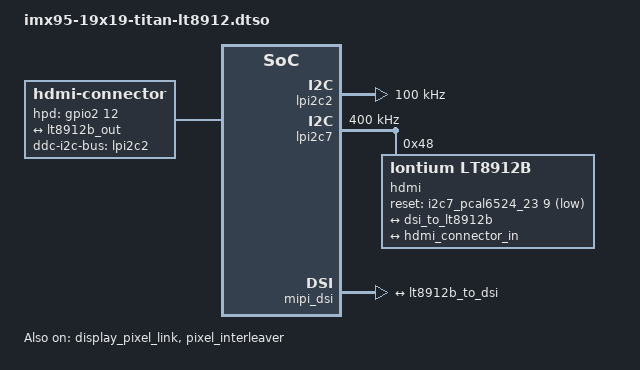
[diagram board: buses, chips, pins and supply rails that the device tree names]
// SPDX-License-Identifier: (GPL-2.0+ OR MIT)
/*
 * Copyright 2023 NXP
 */

/dts-v1/;
/plugin/;

#include <dt-bindings/clock/fsl,imx95-clock.h>
#include <dt-bindings/gpio/gpio.h>
#include <dt-bindings/interrupt-controller/irq.h>

&{/} {
	hdmi-connector {
		compatible = "hdmi-connector";
		pinctrl-names = "default";
		pinctrl-0 = <&pinctrl_pwm_3_dsi_hpd_gpio>;
		ddc-i2c-bus = <&lpi2c2>;
		/* Verdin PWM_3_DSI/PWM_3_DSI_LVDS (SODIMM 19) GPIO_IO12 */
		hpd-gpios = <&gpio2 12 GPIO_ACTIVE_HIGH>;
		label = "hdmi";
		type = "a";

		port {
			hdmi_connector_in: endpoint {
				remote-endpoint = <&lt8912b_out>;
			};
		};
	};
};

&display_pixel_link {
	status = "okay";
};

&dpu {
	assigned-clocks = <&scmi_clk IMX95_CLK_DISP1PIX>,
			  <&scmi_clk IMX95_CLK_VIDEOPLL1_VCO>,
			  <&scmi_clk IMX95_CLK_VIDEOPLL1>;
	assigned-clock-parents = <&scmi_clk IMX95_CLK_VIDEOPLL1>;
	assigned-clock-rates = <0>, <4008000000>, <445333334>;
};

&lpi2c2 {
	#address-cells = <1>;
	#size-cells = <0>;
	clock-frequency = <100000>;
};

&lpi2c7 {
	#address-cells = <1>;
	#size-cells = <0>;
	clock-frequency = <400000>;

	hdmi@48 {
		compatible = "lontium,lt8912b";
		reg = <0x48>;
		pinctrl-names = "default";
		reset-gpio = <&i2c7_pcal6524_23 9 GPIO_ACTIVE_LOW>;
		status = "okay";
		ports {
			#address-cells = <1>;
			#size-cells = <0>;

			port@0 {
				reg = <0>;

				lt8912b_to_dsi: endpoint {
					data-lanes = <1 2 3 4>;
					remote-endpoint = <&dsi_to_lt8912b>;
				};
			};

			port@1 {
				reg = <1>;

				lt8912b_out: endpoint {
					remote-endpoint = <&hdmi_connector_in>;
				};
			};
		};
	};
};

&mipi_dsi {
	status = "okay";

	ports {
		#address-cells = <1>;
		#size-cells = <0>;

		port@1 {
			reg = <1>;

			dsi_to_lt8912b: endpoint {
				remote-endpoint = <&lt8912b_to_dsi>;
			};
		};
	};
};

&pixel_interleaver {
	#address-cells = <1>;
	#size-cells = <0>;
	status = "okay";

	channel@0 {
		reg = <0>;
		status = "okay";
	};
};

